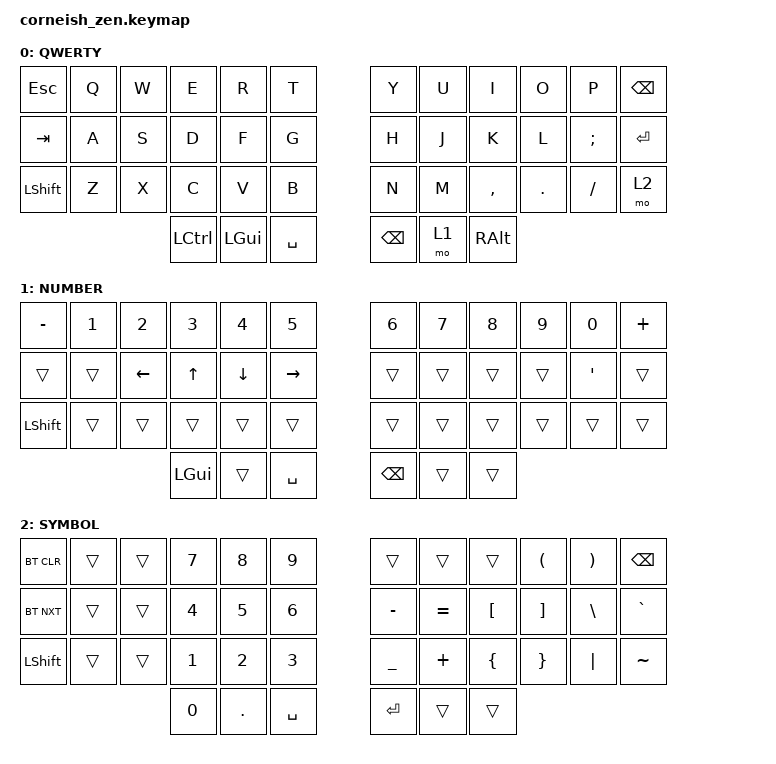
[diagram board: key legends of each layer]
/*
*
* Copyright (c) 2021 Darryl deHaan
* SPDX-License-Identifier: MIT
*
*/

#include <behaviors.dtsi>
#include <dt-bindings/zmk/bt.h>
#include <dt-bindings/zmk/keys.h>

/ {
    chosen {
        zmk,matrix-transform = &default_transform;

        // zmk,matrix-transform = &five_column_transform;
    };
};

/ {
    keymap {
        compatible = "zmk,keymap";

        default_layer {
            display-name = "QWERTY";

            // --------------------------------------------------------------------------------
            // |  TAB |  Q  |  W  |  E  |  R  |  T  |   |  Y  |  U   |  I  |  O  |  P  | BKSP |
            // | CTRL |  A  |  S  |  D  |  F  |  G  |   |  H  |  J   |  K  |  L  |  ;  |  '   |
            // | SHFT |  Z  |  X  |  C  |  V  |  B  |   |  N  |  M   |  ,  |  .  |  /  | ESC  |
            //                    | GUI | LWR | SPC |   | ENT | RSE  | ALT |

            bindings = <
&kp ESCAPE  &kp Q  &kp W  &kp E      &kp R         &kp T        &kp Y          &kp U  &kp I      &kp O    &kp P     &kp BSPC
&kp TAB     &kp A  &kp S  &kp D      &kp F         &kp G        &kp H          &kp J  &kp K      &kp L    &kp SEMI  &kp ENTER
&kp LSHFT   &kp Z  &kp X  &kp C      &kp V         &kp B        &kp N          &kp M  &kp COMMA  &kp DOT  &kp FSLH  &mo 2
                          &kp LCTRL  &kp LEFT_GUI  &kp SPACE    &kp BACKSPACE  &mo 1  &kp RALT
            >;
        };

        lower_layer {
            display-name = "NUMBER";

            // -----------------------------------------------------------------------------------------
            // |  TAB |  1  |  2  |  3  |  4  |  5  |   |  6  |  7  |  8  |  9  |  0  | BKSP |
            // | BTCLR| BT1 | BT2 | BT3 | BT4 | BT5 |   | LFT | DWN |  UP | RGT |     |      |
            // | SHFT |     |     |     |     |     |   |     |     |     |     |     |      |
            //                    | GUI |     | SPC |   | ENT |     | ALT |

            bindings = <
&kp MINUS  &kp N1  &kp N2    &kp N3        &kp N4    &kp N5       &kp N6         &kp N7  &kp N8  &kp N9  &kp N0            &kp PLUS
&trans     &trans  &kp LEFT  &kp UP_ARROW  &kp DOWN  &kp RIGHT    &trans         &trans  &trans  &trans  &kp SINGLE_QUOTE  &trans
&kp LSHFT  &trans  &trans    &trans        &trans    &trans       &trans         &trans  &trans  &trans  &trans            &trans
                             &kp LGUI      &trans    &kp SPACE    &kp BACKSPACE  &trans  &trans
            >;
        };

        raise_layer {
            display-name = "SYMBOL";

            // -----------------------------------------------------------------------------------------
            // |  TAB |  !  |  @  |  #  |  $  |  %  |   |  ^  |  &  |  *  |  (  |  )  | BKSP |
            // | CTRL |     |     |     |     |     |   |  -  |  =  |  [  |  ]  |  \  |  `   |
            // | SHFT |     |     |     |     |     |   |  _  |  +  |  {  |  }  | "|" |  ~   |
            //                    | GUI |     | SPC |   | ENT |     | ALT |

            bindings = <
&bt BT_CLR  &trans  &trans  &kp N7        &kp N8        &kp N9          &trans     &trans     &trans    &kp LPAR  &kp RPAR  &kp BSPC
&bt BT_NXT  &trans  &trans  &kp NUMBER_4  &kp N5        &kp NUMBER_6    &kp MINUS  &kp EQUAL  &kp LBKT  &kp RBKT  &kp BSLH  &kp GRAVE
&kp LSHFT   &trans  &trans  &kp NUMBER_1  &kp NUMBER_2  &kp NUMBER_3    &kp UNDER  &kp PLUS   &kp LBRC  &kp RBRC  &kp PIPE  &kp TILDE
                            &kp N0        &kp PERIOD    &kp SPACE       &kp RET    &trans     &trans
            >;
        };
    };
};
